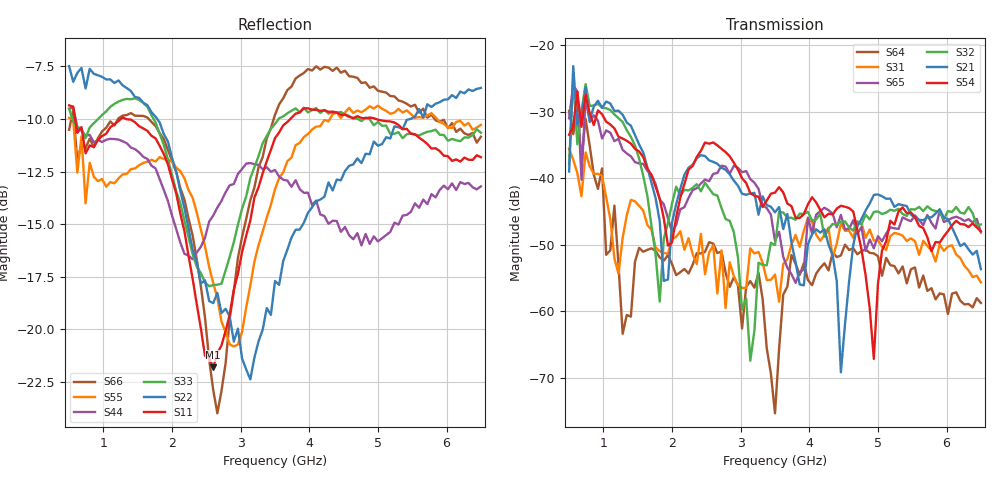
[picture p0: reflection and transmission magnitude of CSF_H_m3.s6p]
!Keysight Technologies,M9804A,MY58100912,A.14.10.03
!Date: Thursday, April 27, 2023 10:28:33
!Correction: S11(C  6-Port  )
!S12(C  6-Port  )
!S13(C  6-Port  )
!S14(C  6-Port  )
!S15(C  6-Port  )
!S16(C  6-Port  )
!S21(C  6-Port  )
!S22(C  6-Port  )
!S23(C  6-Port  )
!S24(C  6-Port  )
!S25(C  6-Port  )
!S26(C  6-Port  )
!S31(C  6-Port  )
!S32(C  6-Port  )
!S33(C  6-Port  )
!S34(C  6-Port  )
!S35(C  6-Port  )
!S36(C  6-Port  )
!S41(C  6-Port  )
!S42(C  6-Port  )
!S43(C  6-Port  )
!S44(C  6-Port  )
!S45(C  6-Port  )
!S46(C  6-Port  )
!S51(C  6-Port  )
!S52(C  6-Port  )
!S53(C  6-Port  )
!S54(C  6-Port  )
!S55(C  6-Port  )
!S56(C  6-Port  )
!S61(C  6-Port  )
!S62(C  6-Port  )
!S63(C  6-Port  )
!S64(C  6-Port  )
!S65(C  6-Port  )
!S66(C  6-Port  )
!S6P File: Measurement: :
# Hz S  RI  R 50
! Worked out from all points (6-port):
!   101 points, 500 MHz to 6.5 GHz, reference 50 ohm
!   strongest paths, dB at 500 MHz, 2 GHz, 3.5 GHz, 5 GHz, 6.5 GHz:
!     S54: -33.5, -49.7, -42.2, -55.9, -48.0
!     S21: -39.0, -46.6, -45.1, -42.4, -53.7
!     S32: -38.0, -43.8, -50.1, -45.0, -47.0
!     S65: -31.0, -48.1, -49.4, -48.7, -48.2
!     S31: -35.6, -49.1, -54.5, -49.3, -55.7
!     S64: -29.9, -52.9, -75.3, -51.7, -58.8
!   lowest |S11| = -21.8 dB at 2.6 GHz (marker M1), VSWR 1.18, Z = 42.7 + j2.01 ohm
!   |S11| at or under -10 dB: 588.3 MHz to 1.254 GHz (665.6 MHz wide, 72.3 % of centre); 1.33 GHz to 3.724 GHz (2.394 GHz wide, 94.7 % of centre); 4.972 GHz to end of sweep
